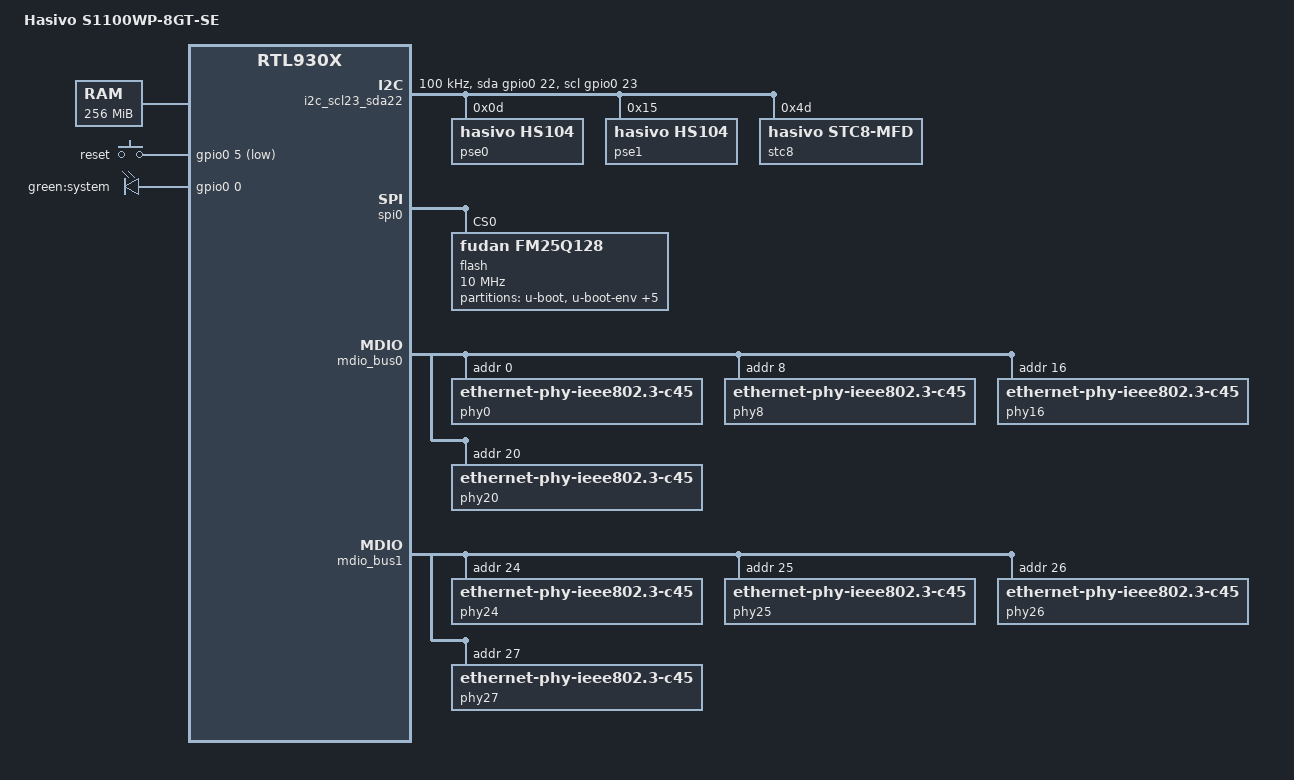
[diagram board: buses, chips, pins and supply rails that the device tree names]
// SPDX-License-Identifier: GPL-2.0-or-later
/dts-v1/;

#include "rtl930x.dtsi"

#include <dt-bindings/input/input.h>
#include <dt-bindings/gpio/gpio.h>
#include <dt-bindings/leds/common.h>

/ {
	compatible = "hasivo,s1100wp-8gt-se";
	model = "Hasivo S1100WP-8GT-SE";

	memory@0 {
		device_type = "memory";
		reg = <0x00000000 0x10000000>; /* 256 MiB */
	};

	aliases {
		led-boot = &led_sys;
		led-failsafe = &led_sys;
		led-running = &led_sys;
		led-upgrade = &led_sys;
		label-mac-device = &ethernet0;
	};

	chosen {
		stdout-path = "serial0:38400n8";
	};

	keys {
		compatible = "gpio-keys";

		button-reset {
			label = "reset";
			gpios = <&gpio0 5 GPIO_ACTIVE_LOW>;
			linux,code = <KEY_RESTART>;
		};
	};

	leds {
		compatible = "gpio-leds";

		pinctrl-names = "default";
		pinctrl-0 = <&pinmux_disable_sys_led>, <&pinmux_enable_led_sync>;

		led_sys: led-0 {
			label = "green:system";
			gpios = <&gpio0 0 GPIO_ACTIVE_HIGH>;
			linux,default-trigger = "heartbeat";
		};
	};

	led_set: led_set {
		compatible = "realtek,rtl9300-leds";

		led_set0 = <
		(	// GREEN LEFT RJ45 - 1G link, blink on activity
			RTL93XX_LED_SET_1G |
			RTL93XX_LED_SET_LINK |
			RTL93XX_LED_SET_ACT
		)
		(	// GREEN RIGHT RJ45 - 10M/100M link, blink on activity
			RTL93XX_LED_SET_10M |
			RTL93XX_LED_SET_100M |
			RTL93XX_LED_SET_LINK |
			RTL93XX_LED_SET_ACT
		)
		(	// ORANGE LEFT RJ45 - 2.5G link, blink on activity
			RTL93XX_LED_SET_2P5G |
			RTL93XX_LED_SET_LINK |
			RTL93XX_LED_SET_ACT
		)
		>;
	};

	i2c_scl23_sda22 {
		compatible = "i2c-gpio";
		#address-cells = <1>;
		#size-cells = <0>;

		scl-gpios = <&gpio0 23 (GPIO_ACTIVE_HIGH | GPIO_OPEN_DRAIN)>;
		sda-gpios = <&gpio0 22 (GPIO_ACTIVE_HIGH | GPIO_OPEN_DRAIN)>;
		status = "okay";

		clock-frequency = <100000>;

		pse0: pse0@d {
			compatible = "hasivo,hs104";
			reg = <0x0d>;
			#pse-cells = <1>;
			led-poll-interval-ms = <500>;
			status = "okay";
		};

		pse1: pse1@15 {
			compatible = "hasivo,hs104";
			reg = <0x15>;
			#pse-cells = <1>;
			led-poll-interval-ms = <500>;
			status = "okay";
		};

		stc8: stc8@4d {
			compatible = "hasivo,stc8-mfd", "syscon";
			reg = <0x4d>;
			#address-cells = <2>;
			#size-cells = <0>;
			hasivo,execute-bit = <0x40>;
			hasivo,execute-bit-registers = <0x01 0x02>;
			status = "okay";

			led_lan1_poe: led@1,0 {
				compatible = "register-bit-led";
				reg = <0x01 0x00>;
				mask = <0x08>;
				label = "orange:lan1_poe";
				linux,default-trigger = "pse0:port0:delivering";
				default-state = "off";
			};

			led_lan2_poe: led@1,1 {
				compatible = "register-bit-led";
				reg = <0x01 0x01>;
				mask = <0x04>;
				label = "orange:lan2_poe";
				linux,default-trigger = "pse0:port1:delivering";
				default-state = "off";
			};

			led_lan3_poe: led@1,2 {
				compatible = "register-bit-led";
				reg = <0x01 0x02>;
				mask = <0x02>;
				label = "orange:lan3_poe";
				linux,default-trigger = "pse0:port2:delivering";
				default-state = "off";
			};

			led_lan4_poe: led@1,3 {
				compatible = "register-bit-led";
				reg = <0x01 0x03>;
				mask = <0x01>;
				label = "orange:lan4_poe";
				linux,default-trigger = "pse0:port3:delivering";
				default-state = "off";
			};

			led_lan5_poe: led@2,0 {
				compatible = "register-bit-led";
				reg = <0x02 0x00>;
				mask = <0x08>;
				label = "orange:lan5_poe";
				linux,default-trigger = "pse1:port0:delivering";
				default-state = "off";
			};

			led_lan6_poe: led@2,1 {
				compatible = "register-bit-led";
				reg = <0x02 0x01>;
				mask = <0x04>;
				label = "orange:lan6_poe";
				linux,default-trigger = "pse1:port1:delivering";
				default-state = "off";
			};

			led_lan7_poe: led@2,2 {
				compatible = "register-bit-led";
				reg = <0x02 0x02>;
				mask = <0x02>;
				label = "orange:lan7_poe";
				linux,default-trigger = "pse1:port2:delivering";
				default-state = "off";
			};

			led_lan8_poe: led@2,3 {
				compatible = "register-bit-led";
				reg = <0x02 0x03>;
				mask = <0x01>;
				label = "orange:lan8_poe";
				linux,default-trigger = "pse1:port3:delivering";
				default-state = "off";
			};
		};
	};
};

&spi0 {
	status = "okay";

	flash@0 {
		compatible = "fudan,fm25q128", "jedec,spi-nor";
		reg = <0>;
		spi-max-frequency = <10000000>;

		partitions {
			compatible = "fixed-partitions";
			#address-cells = <1>;
			#size-cells = <1>;

			/* stock is LOADER */
			partition@0 {
				label = "u-boot";
				reg = <0x0000000 0x00e0000>;
				read-only;
			};

			/* stock is BDINFO */
			partition@e0000 {
				label = "u-boot-env";
				reg = <0x00e0000 0x0010000>;

				nvmem-layout {
					compatible = "u-boot,env";

					macaddr_ubootenv_ethaddr: ethaddr {
						#nvmem-cell-cells = <1>;
					};
					serialnumber_ubootenv: serialnumber {
						#nvmem-cell-cells = <1>;
					};
					pse_bt_port_no_ubootenv: pse_bt_port_no {
						#nvmem-cell-cells = <1>;
					};
					pse_existed_flag_ubootenv: pse_existed_flag {
						#nvmem-cell-cells = <1>;
					};
					pse_power_bank_ubootenv: pse_power_bank {
						#nvmem-cell-cells = <1>;
					};
				};
			};

			/* stock is SYSINFO */
			partition@f0000 {
				label = "u-boot-env2";
				reg = <0x00f0000 0x0010000>;
				read-only;
			};

			/* stock is JFFS2_CFG */
			partition@100000 {
				label = "jffs";
				reg = <0x0100000 0x0100000>;
			};

			/* stock is JFFS2_LOG */
			partition@200000 {
				label = "jffs2";
				reg = <0x0200000 0x0100000>;
			};

			/* stock is RUNTIME */
			partition@300000 {
				compatible = "openwrt,uimage", "denx,uimage";
				label = "firmware";
				reg = <0x0300000 0x0c00000>;
			};

			/* stock is OEMINFO */
			partition@f00000 {
				label = "oeminfo";
				reg = <0x0f00000 0x0100000>;
				read-only;
			};
		};
	};
};

&ethernet0 {
	nvmem-cells = <&macaddr_ubootenv_ethaddr 0>;
	nvmem-cell-names = "mac-address";
};

&mdio_bus0 {
	/* External RTL8221B PHY */
	phy0: ethernet-phy@1 {
		reg = <0>;
		compatible = "ethernet-phy-ieee802.3-c45";
		realtek,smi-address = <1>;
		pses = <&pse0 0>;
	};

	/* External RTL8221B PHY */
	phy8: ethernet-phy@8 {
		reg = <8>;
		compatible = "ethernet-phy-ieee802.3-c45";
		realtek,smi-address = <2>;
		pses = <&pse0 1>;
	};

	/* External RTL8221B PHY */
	phy16: ethernet-phy@16 {
		reg = <16>;
		compatible = "ethernet-phy-ieee802.3-c45";
		realtek,smi-address = <3>;
		pses = <&pse0 2>;
	};

	/* External RTL8221B PHY */
	phy20: ethernet-phy@20 {
		reg = <20>;
		compatible = "ethernet-phy-ieee802.3-c45";
		realtek,smi-address = <4>;
		pses = <&pse0 3>;
	};
};

&mdio_bus1 {
	/* External RTL8221B PHY */
	phy24: ethernet-phy@24 {
		reg = <24>;
		compatible = "ethernet-phy-ieee802.3-c45";
		realtek,smi-address = <1>;
		pses = <&pse1 0>;
	};

	/* External RTL8221B PHY */
	phy25: ethernet-phy@25 {
		reg = <25>;
		compatible = "ethernet-phy-ieee802.3-c45";
		realtek,smi-address = <2>;
		pses = <&pse1 1>;
	};

	/* External RTL8221B PHY */
	phy26: ethernet-phy@26 {
		reg = <26>;
		compatible = "ethernet-phy-ieee802.3-c45";
		realtek,smi-address = <3>;
		pses = <&pse1 2>;
	};

	/* External RTL8221B PHY */
	phy27: ethernet-phy@27 {
		reg = <27>;
		compatible = "ethernet-phy-ieee802.3-c45";
		realtek,smi-address = <4>;
		pses = <&pse1 3>;
	};
};

&switch0 {
	ethernet-ports {
		#address-cells = <1>;
		#size-cells = <0>;

		port@0 {
			reg = <0>;
			label = "lan1";
			pcs-handle = <&serdes2>;
			phy-handle = <&phy0>;
			phy-mode = "sgmii";
			managed = "in-band-status";
			led-set = <0>;
		};

		port@8 {
			reg = <8>;
			label = "lan2";
			pcs-handle = <&serdes3>;
			phy-handle = <&phy8>;
			phy-mode = "sgmii";
			managed = "in-band-status";
			led-set = <0>;
		};

		port@16 {
			reg = <16>;
			label = "lan3";
			pcs-handle = <&serdes4>;
			phy-handle = <&phy16>;
			phy-mode = "sgmii";
			managed = "in-band-status";
			led-set = <0>;
		};

		port@20 {
			reg = <20>;
			label = "lan4";
			pcs-handle = <&serdes5>;
			phy-handle = <&phy20>;
			phy-mode = "sgmii";
			managed = "in-band-status";
			led-set = <0>;
		};

		port@24 {
			reg = <24>;
			label = "lan5";
			pcs-handle = <&serdes6>;
			phy-handle = <&phy24>;
			phy-mode = "sgmii";
			managed = "in-band-status";
			led-set = <0>;
		};

		port@25 {
			reg = <25>;
			label = "lan6";
			pcs-handle = <&serdes7>;
			phy-handle = <&phy25>;
			phy-mode = "sgmii";
			managed = "in-band-status";
			led-set = <0>;
		};

		port@26 {
			reg = <26>;
			label = "lan7";
			pcs-handle = <&serdes8>;
			phy-handle = <&phy26>;
			phy-mode = "sgmii";
			managed = "in-band-status";
			led-set = <0>;
		};

		port@27 {
			reg = <27>;
			label = "lan8";
			pcs-handle = <&serdes9>;
			phy-handle = <&phy27>;
			phy-mode = "sgmii";
			managed = "in-band-status";
			led-set = <0>;
		};

		/* Internal SoC */
		port@28 {
			ethernet = <&ethernet0>;
			reg = <28>;
			phy-mode = "internal";

			fixed-link {
				speed = <10000>;
				full-duplex;
			};
		};
	};
};
